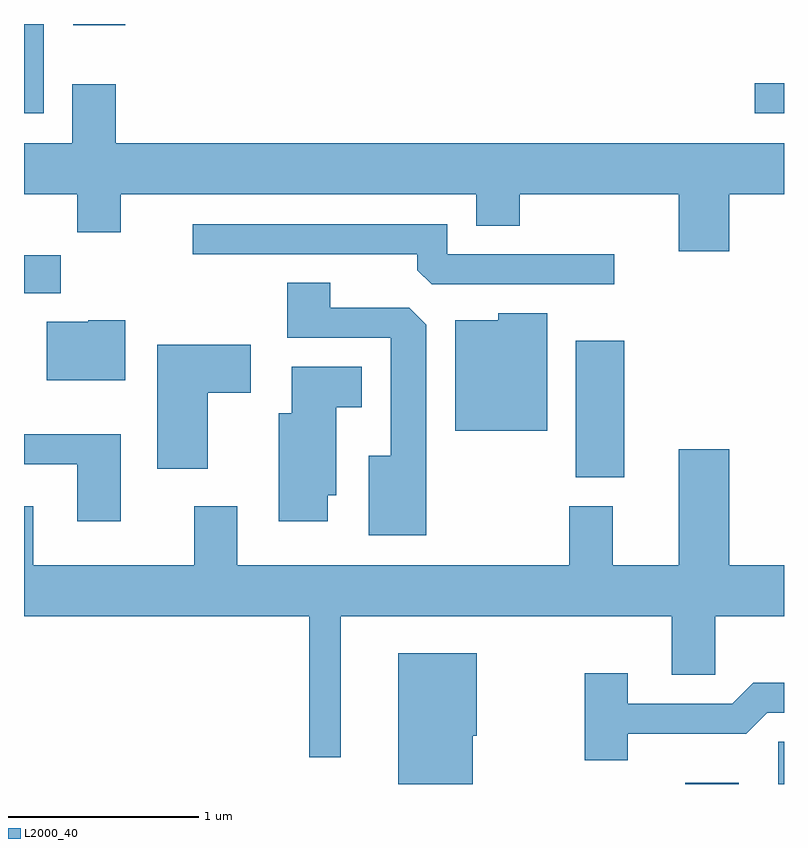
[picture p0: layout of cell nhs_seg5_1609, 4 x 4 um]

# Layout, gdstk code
import gdstk
lib = gdstk.Library(unit=1e-6, precision=1e-09)
def R(c, l, rs):  # rectangles x0, y0, x1, y1
    for r in rs: c.add(gdstk.rectangle(r[:2], r[2:], *l))
def P(c, l, *ps):  # polygons
    for p in ps: c.add(gdstk.Polygon(p, *l))
L2000_40 = (2000, 40)

nhs_seg5_1609 = lib.new_cell('nhs_seg5_1609')
R(nhs_seg5_1609, L2000_40, [(235.091,1518.072,235.374,1518.079), (235.581,1518.072,235.611,1518.294), (234.516,1519.686,234.769,1520.404), (231.611,1520.656,231.804,1520.854), (231.611,1521.601,231.714,1522.072), (235.458,1521.601,235.611,1521.759), (231.871,1522.066,232.144,1522.072)])
P(nhs_seg5_1609, L2000_40, [(235.324,1521.176),(235.611,1521.176),(235.611,1521.444),(232.094,1521.444),(232.094,1521.754),(231.866,1521.754),(231.866,1521.444),(231.611,1521.444),(231.611,1521.176),(231.891,1521.176),(231.891,1520.976),(232.119,1520.976),(232.119,1521.176),(233.991,1521.176),(233.991,1521.011),(234.219,1521.011),(234.219,1521.176),(235.056,1521.176),(235.056,1520.876),(235.324,1520.876)],
  [(234.718,1520.859),(233.839,1520.859),(233.839,1521.019),(232.498,1521.019),(232.498,1520.861),(233.681,1520.861),(233.681,1520.777),(233.757,1520.701),(234.718,1520.701)],
  [(233.729,1520.489),(233.639,1520.579),(233.224,1520.579),(233.224,1520.709),(232.996,1520.709),(232.996,1520.421),(233.541,1520.421),(233.541,1519.799),(233.426,1519.799),(233.426,1519.381),(233.729,1519.381)],
  [(234.364,1520.549),(234.106,1520.549),(234.106,1520.514),(233.881,1520.514),(233.881,1519.931),(234.364,1519.931)],
  [(232.144,1520.514),(231.95,1520.514),(231.95,1520.504),(231.731,1520.504),(231.731,1520.196),(232.144,1520.196)],
  [(232.579,1520.131),(232.804,1520.131),(232.804,1520.384),(232.311,1520.384),(232.311,1519.731),(232.579,1519.731)],
  [(233.209,1519.591),(233.254,1519.591),(233.254,1520.056),(233.389,1520.056),(233.389,1520.269),(233.021,1520.269),(233.021,1520.024),(232.951,1520.024),(232.951,1519.456),(233.209,1519.456)],
  [(232.119,1519.914),(231.611,1519.914),(231.611,1519.756),(231.891,1519.756),(231.891,1519.456),(232.119,1519.456)],
  [(233.279,1518.956),(235.021,1518.956),(235.021,1518.646),(235.249,1518.646),(235.249,1518.956),(235.611,1518.956),(235.611,1519.224),(235.324,1519.224),(235.324,1519.834),(235.056,1519.834),(235.056,1519.224),(234.709,1519.224),(234.709,1519.534),(234.481,1519.534),(234.481,1519.224),(232.734,1519.224),(232.734,1519.534),(232.506,1519.534),(232.506,1519.224),(231.659,1519.224),(231.659,1519.534),(231.611,1519.534),(231.611,1518.956),(233.111,1518.956),(233.111,1518.213),(233.279,1518.213)],
  [(233.974,1518.326),(233.994,1518.326),(233.994,1518.759),(233.581,1518.759),(233.581,1518.072),(233.974,1518.072)],
  [(234.789,1518.336),(235.412,1518.336),(235.522,1518.446),(235.611,1518.446),(235.611,1518.604),(235.449,1518.604),(235.339,1518.494),(234.789,1518.494),(234.789,1518.654),(234.561,1518.654),(234.561,1518.196),(234.789,1518.196)])

lib.write_gds('nhs_seg5_1609.gds')
